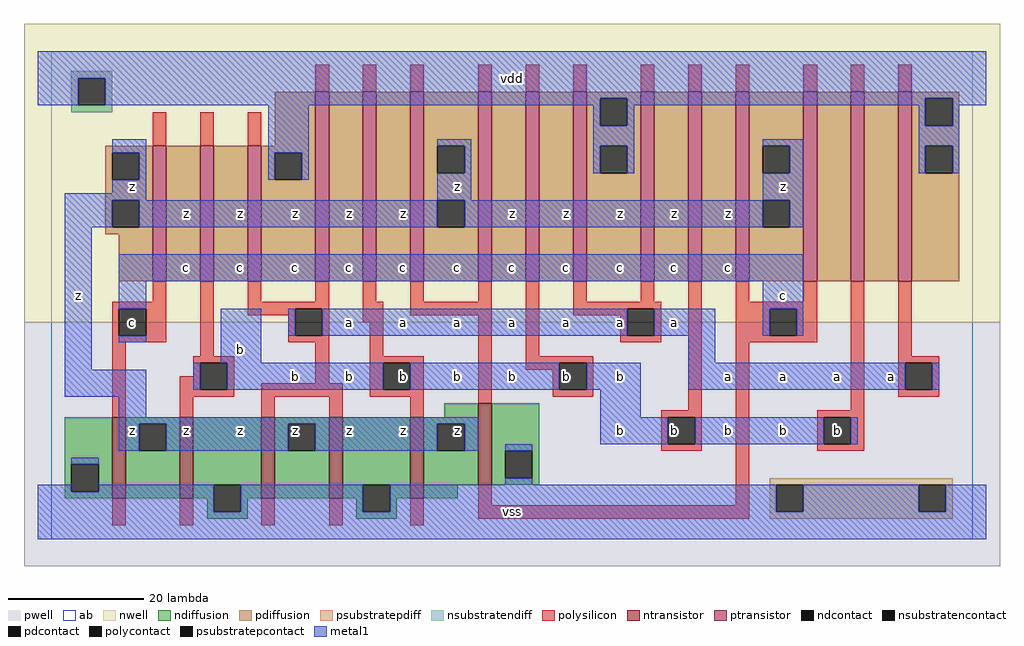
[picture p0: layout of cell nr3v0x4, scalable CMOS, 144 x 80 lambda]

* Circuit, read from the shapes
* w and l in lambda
.subckt nr3v0x4 a b c vdd vss z
M1 z c vss vss nfet w=12 l=2 m=2
M2 vss b z vss nfet w=12 l=2 m=2
M3 z a vss vss nfet w=12 l=2 m=2
M4 n1 c z vdd pfet w=20 l=2
M5 n2 b n1 vdd pfet w=20 l=2
M6 vdd a n2 vdd pfet w=20 l=2
M7 n3 a vdd vdd pfet w=28 l=2
M8 n4 b n3 vdd pfet w=28 l=2
M9 z c n4 vdd pfet w=28 l=2
M10 n5 c z vdd pfet w=28 l=2
M11 n6 b n5 vdd pfet w=28 l=2
M12 vdd a n6 vdd pfet w=28 l=2
M13 n7 a vdd vdd pfet w=28 l=2
M14 n8 b n7 vdd pfet w=28 l=2
M15 z c n8 vdd pfet w=28 l=2
M16 n9 c z vdd pfet w=28 l=2
M17 n10 b n9 vdd pfet w=28 l=2
M18 vdd a n10 vdd pfet w=28 l=2
.ends

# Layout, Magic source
magic
tech scmos
<< ab >>
rect 0 0 136 72
<< pwell >>
rect -4 -4 140 32
<< nwell >>
rect -4 32 140 76
<< polysilicon >>
rect 39 66 41 70
rect 46 66 48 70
rect 53 66 55 70
rect 63 66 65 70
rect 70 66 72 70
rect 77 66 79 70
rect 87 66 89 70
rect 94 66 96 70
rect 101 66 103 70
rect 111 66 113 70
rect 118 66 120 70
rect 125 66 127 70
rect 15 58 17 63
rect 22 58 24 63
rect 29 58 31 63
rect 15 35 17 38
rect 9 34 17 35
rect 9 30 10 34
rect 14 30 17 34
rect 9 29 17 30
rect 9 18 11 29
rect 22 27 24 38
rect 29 35 31 38
rect 39 35 41 38
rect 29 34 41 35
rect 29 33 36 34
rect 35 30 36 33
rect 40 30 41 34
rect 46 35 48 38
rect 53 35 55 38
rect 63 35 65 38
rect 46 32 49 35
rect 53 33 65 35
rect 35 29 41 30
rect 21 26 27 27
rect 21 24 22 26
rect 19 22 22 24
rect 26 22 27 26
rect 39 23 41 29
rect 47 27 49 32
rect 47 26 55 27
rect 19 21 27 22
rect 31 21 43 23
rect 47 22 49 26
rect 53 22 55 26
rect 47 21 55 22
rect 19 18 21 21
rect 31 18 33 21
rect 41 18 43 21
rect 53 18 55 21
rect 63 20 65 33
rect 70 27 72 38
rect 77 35 79 38
rect 87 35 89 38
rect 77 34 90 35
rect 77 33 85 34
rect 84 30 85 33
rect 89 30 90 34
rect 84 29 90 30
rect 70 26 80 27
rect 70 25 75 26
rect 74 22 75 25
rect 79 22 80 26
rect 74 21 80 22
rect 9 2 11 6
rect 19 2 21 6
rect 31 2 33 6
rect 41 2 43 6
rect 94 19 96 38
rect 90 18 96 19
rect 90 14 91 18
rect 95 14 96 18
rect 90 13 96 14
rect 101 35 103 38
rect 111 35 113 38
rect 101 34 113 35
rect 101 30 106 34
rect 110 30 113 34
rect 101 29 113 30
rect 53 2 55 6
rect 63 5 65 8
rect 101 5 103 29
rect 118 19 120 38
rect 125 27 127 38
rect 125 26 131 27
rect 125 22 126 26
rect 130 22 131 26
rect 125 21 131 22
rect 113 18 120 19
rect 113 14 114 18
rect 118 14 120 18
rect 113 13 120 14
rect 63 3 103 5
<< ndiffusion >>
rect 58 18 63 20
rect 2 11 9 18
rect 2 7 3 11
rect 7 7 9 11
rect 2 6 9 7
rect 11 17 19 18
rect 11 13 13 17
rect 17 13 19 17
rect 11 6 19 13
rect 21 8 31 18
rect 21 6 24 8
rect 23 4 24 6
rect 28 6 31 8
rect 33 17 41 18
rect 33 13 35 17
rect 39 13 41 17
rect 33 6 41 13
rect 43 8 53 18
rect 43 6 46 8
rect 28 4 29 6
rect 23 3 29 4
rect 45 4 46 6
rect 50 6 53 8
rect 55 17 63 18
rect 55 13 57 17
rect 61 13 63 17
rect 55 8 63 13
rect 65 13 72 20
rect 65 9 67 13
rect 71 9 72 13
rect 65 8 72 9
rect 55 6 60 8
rect 50 4 51 6
rect 45 3 51 4
<< pdiffusion >>
rect 33 58 39 66
rect 8 57 15 58
rect 8 53 9 57
rect 13 53 15 57
rect 8 50 15 53
rect 8 46 9 50
rect 13 46 15 50
rect 8 45 15 46
rect 10 38 15 45
rect 17 38 22 58
rect 24 38 29 58
rect 31 57 39 58
rect 31 53 33 57
rect 37 53 39 57
rect 31 38 39 53
rect 41 38 46 66
rect 48 38 53 66
rect 55 58 63 66
rect 55 54 57 58
rect 61 54 63 58
rect 55 50 63 54
rect 55 46 57 50
rect 61 46 63 50
rect 55 38 63 46
rect 65 38 70 66
rect 72 38 77 66
rect 79 65 87 66
rect 79 61 81 65
rect 85 61 87 65
rect 79 58 87 61
rect 79 54 81 58
rect 85 54 87 58
rect 79 38 87 54
rect 89 38 94 66
rect 96 38 101 66
rect 103 58 111 66
rect 103 54 105 58
rect 109 54 111 58
rect 103 50 111 54
rect 103 46 105 50
rect 109 46 111 50
rect 103 38 111 46
rect 113 38 118 66
rect 120 38 125 66
rect 127 65 134 66
rect 127 61 129 65
rect 133 61 134 65
rect 127 58 134 61
rect 127 54 129 58
rect 133 54 134 58
rect 127 38 134 54
<< metal1 >>
rect -2 68 138 72
rect -2 64 4 68
rect 8 65 138 68
rect 8 64 81 65
rect 9 57 14 59
rect 13 53 14 57
rect 32 57 38 64
rect 80 61 81 64
rect 85 64 129 65
rect 85 61 86 64
rect 32 53 33 57
rect 37 53 38 57
rect 57 58 62 59
rect 61 54 62 58
rect 80 58 86 61
rect 128 61 129 64
rect 133 64 138 65
rect 133 61 134 64
rect 80 54 81 58
rect 85 54 86 58
rect 105 58 111 59
rect 109 54 111 58
rect 128 58 134 61
rect 128 54 129 58
rect 133 54 134 58
rect 9 51 14 53
rect 2 50 14 51
rect 57 50 62 54
rect 105 50 111 54
rect 2 46 9 50
rect 13 46 57 50
rect 61 46 105 50
rect 109 46 111 50
rect 2 25 6 46
rect 10 38 111 42
rect 10 34 14 38
rect 105 34 111 38
rect 10 29 14 30
rect 25 26 31 34
rect 35 30 36 34
rect 40 30 85 34
rect 89 30 98 34
rect 105 30 106 34
rect 110 30 111 34
rect 94 26 98 30
rect 2 21 14 25
rect 21 22 22 26
rect 26 22 49 26
rect 53 22 75 26
rect 79 22 87 26
rect 94 22 126 26
rect 130 22 131 26
rect 10 18 14 21
rect 81 18 87 22
rect 10 17 63 18
rect 10 13 13 17
rect 17 13 35 17
rect 39 13 57 17
rect 61 13 63 17
rect 81 14 91 18
rect 95 14 114 18
rect 118 14 119 18
rect 67 13 71 14
rect 3 11 7 12
rect -2 7 3 8
rect 67 8 71 9
rect 7 7 24 8
rect -2 4 24 7
rect 28 4 46 8
rect 50 4 107 8
rect 111 4 128 8
rect 132 4 138 8
rect -2 0 138 4
<< ntransistor >>
rect 9 6 11 18
rect 19 6 21 18
rect 31 6 33 18
rect 41 6 43 18
rect 53 6 55 18
rect 63 8 65 20
<< ptransistor >>
rect 15 38 17 58
rect 22 38 24 58
rect 29 38 31 58
rect 39 38 41 66
rect 46 38 48 66
rect 53 38 55 66
rect 63 38 65 66
rect 70 38 72 66
rect 77 38 79 66
rect 87 38 89 66
rect 94 38 96 66
rect 101 38 103 66
rect 111 38 113 66
rect 118 38 120 66
rect 125 38 127 66
<< polycontact >>
rect 10 30 14 34
rect 36 30 40 34
rect 22 22 26 26
rect 49 22 53 26
rect 85 30 89 34
rect 75 22 79 26
rect 91 14 95 18
rect 106 30 110 34
rect 126 22 130 26
rect 114 14 118 18
<< ndcontact >>
rect 3 7 7 11
rect 13 13 17 17
rect 24 4 28 8
rect 35 13 39 17
rect 46 4 50 8
rect 57 13 61 17
rect 67 9 71 13
<< pdcontact >>
rect 9 53 13 57
rect 9 46 13 50
rect 33 53 37 57
rect 57 54 61 58
rect 57 46 61 50
rect 81 61 85 65
rect 81 54 85 58
rect 105 54 109 58
rect 105 46 109 50
rect 129 61 133 65
rect 129 54 133 58
<< psubstratepcontact >>
rect 107 4 111 8
rect 128 4 132 8
<< nsubstratencontact >>
rect 4 64 8 68
<< psubstratepdiff >>
rect 106 8 133 9
rect 106 4 107 8
rect 111 4 128 8
rect 132 4 133 8
rect 106 3 133 4
<< nsubstratendiff >>
rect 3 68 9 69
rect 3 64 4 68
rect 8 64 9 68
rect 3 63 9 64
<< labels >>
rlabel metal1 12 16 12 16 6 z
rlabel polycontact 12 32 12 32 6 c
rlabel metal1 4 36 4 36 6 z
rlabel metal1 12 52 12 52 6 z
rlabel metal1 20 16 20 16 6 z
rlabel metal1 28 16 28 16 6 z
rlabel ndcontact 36 16 36 16 6 z
rlabel metal1 28 28 28 28 6 b
rlabel metal1 36 24 36 24 6 b
rlabel metal1 28 40 28 40 6 c
rlabel metal1 36 40 36 40 6 c
rlabel metal1 20 40 20 40 6 c
rlabel metal1 28 48 28 48 6 z
rlabel metal1 36 48 36 48 6 z
rlabel metal1 20 48 20 48 6 z
rlabel metal1 44 16 44 16 6 z
rlabel metal1 52 16 52 16 6 z
rlabel ndcontact 60 16 60 16 6 z
rlabel polycontact 52 24 52 24 6 b
rlabel metal1 60 24 60 24 6 b
rlabel metal1 44 24 44 24 6 b
rlabel metal1 44 32 44 32 6 a
rlabel metal1 52 32 52 32 6 a
rlabel metal1 60 32 60 32 6 a
rlabel metal1 52 40 52 40 6 c
rlabel metal1 60 40 60 40 6 c
rlabel metal1 44 40 44 40 6 c
rlabel metal1 52 48 52 48 6 z
rlabel metal1 60 52 60 52 6 z
rlabel metal1 44 48 44 48 6 z
rlabel metal1 68 4 68 4 6 vss
rlabel metal1 84 16 84 16 6 b
rlabel polycontact 76 24 76 24 6 b
rlabel metal1 84 24 84 24 6 b
rlabel metal1 68 24 68 24 6 b
rlabel metal1 68 32 68 32 6 a
rlabel metal1 76 32 76 32 6 a
rlabel metal1 84 32 84 32 6 a
rlabel metal1 76 40 76 40 6 c
rlabel metal1 84 40 84 40 6 c
rlabel metal1 68 40 68 40 6 c
rlabel metal1 76 48 76 48 6 z
rlabel metal1 84 48 84 48 6 z
rlabel metal1 68 48 68 48 6 z
rlabel metal1 68 68 68 68 6 vdd
rlabel polycontact 92 16 92 16 6 b
rlabel metal1 100 16 100 16 6 b
rlabel metal1 108 16 108 16 6 b
rlabel metal1 100 24 100 24 6 a
rlabel metal1 108 24 108 24 6 a
rlabel metal1 92 32 92 32 6 a
rlabel metal1 100 40 100 40 6 c
rlabel metal1 108 36 108 36 6 c
rlabel metal1 92 40 92 40 6 c
rlabel metal1 100 48 100 48 6 z
rlabel metal1 108 52 108 52 6 z
rlabel metal1 92 48 92 48 6 z
rlabel polycontact 116 16 116 16 6 b
rlabel metal1 124 24 124 24 6 a
rlabel metal1 116 24 116 24 6 a
<< end >>
